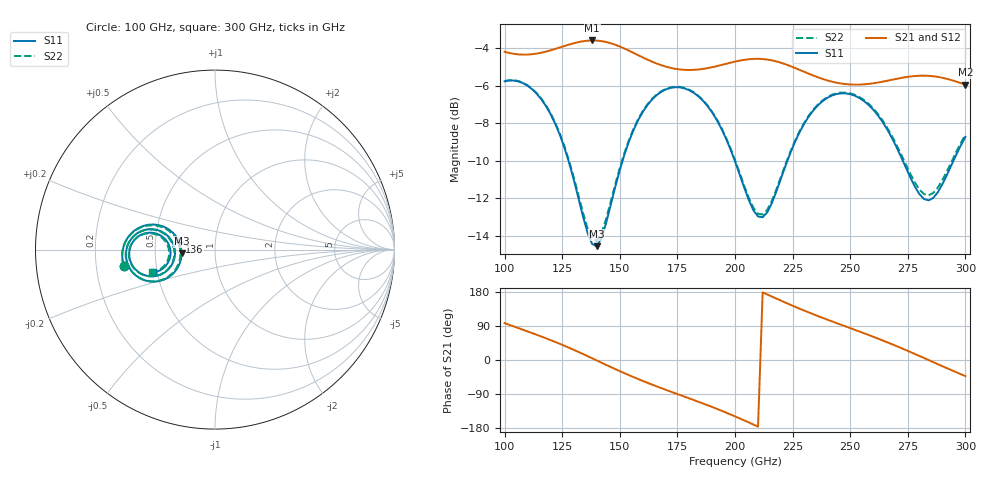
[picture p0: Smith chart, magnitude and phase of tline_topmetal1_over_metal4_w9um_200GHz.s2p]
#  GHZ S DB R 50
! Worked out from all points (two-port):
!   101 points, 100 GHz to 300 GHz, reference 50 ohm
!   highest |S21| = -3.57 dB at 138 GHz (marker M1); lowest = -5.9 dB at 300 GHz (marker M2)
!   |S21| within 3 dB of the highest: start of sweep to end of sweep
!   lowest |S11| = -14.6 dB at 140 GHz (marker M3), VSWR 1.46, Z = 34.3 - j1.46 ohm
!   |S11| at or under -10 dB: 127.7 GHz to 151.2 GHz (23.48 GHz wide, 16.8 % of centre); 199.9 GHz to 222.7 GHz (22.83 GHz wide, 10.8 % of centre); 272.8 GHz to 294.8 GHz (21.97 GHz wide, 7.74 % of centre)
!   |S22| runs from -14.3 to -5.7 dB; largest |S21 - S12| = 6.6e-14
!   S11 on the Smith chart (normalised r, x): 100 GHz: 0.32, -0.08; 136 GHz: 0.67, +0.06; 300 GHz: 0.48, -0.14
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100  -5.76 -170.0  -4.18 97.3  -4.18 97.3  -5.74 -169.7
108  -5.85 178.0  -4.33 79.8  -4.33 79.8  -5.83 178.4
118  -7.09 164.2  -4.17 57.2  -4.17 57.2  -7.05 164.8
126  -9.32 156.5  -3.87 37.4  -3.87 37.4  -9.24 157.4
134  -12.96 162.0  -3.62 15.9  -3.62 15.9  -12.76 163.0
136  -13.85 168.1  -3.58 10.2  -3.58 10.2  -13.61 169.0
138  -14.45 176.6  -3.57 4.5  -3.57 4.5  -14.16 177.1
140  -14.56 -173.7  -3.58 -1.2  -3.58 -1.2  -14.27 -173.6
146  -12.39 -152.7  -3.72 -18.3  -3.72 -18.3  -12.21 -153.4
154  -8.96 -150.5  -4.12 -40.1  -4.12 -40.1  -8.88 -151.1
168  -6.31 -166.6  -4.89 -74.2  -4.89 -74.2  -6.28 -166.8
176  -6.08 -177.2  -5.12 -92.1  -5.12 -92.1  -6.05 -177.2
186  -6.78 170.5  -5.09 -114.5  -5.09 -114.5  -6.75 170.7
200  -10.03 161.3  -4.70 -148.8  -4.70 -148.8  -9.96 161.8
212  -13.01 -174.5  -4.56 178.6  -4.56 178.6  -12.87 -174.4
224  -9.59 -155.3  -4.94 145.8  -4.94 145.8  -9.52 -155.5
234  -7.31 -161.7  -5.45 120.8  -5.45 120.8  -7.26 -161.7
252  -6.52 178.3  -5.93 79.6  -5.93 79.6  -6.48 178.6
268  -8.75 165.0  -5.68 42.0  -5.68 42.0  -8.65 165.8
276  -10.86 167.8  -5.50 21.5  -5.50 21.5  -10.67 168.5
284  -12.11 -176.5  -5.46 -0.1  -5.46 -0.1  -11.84 -176.5
300  -8.72 -159.6  -5.94 -42.4  -5.94 -42.4  -8.61 -160.4
